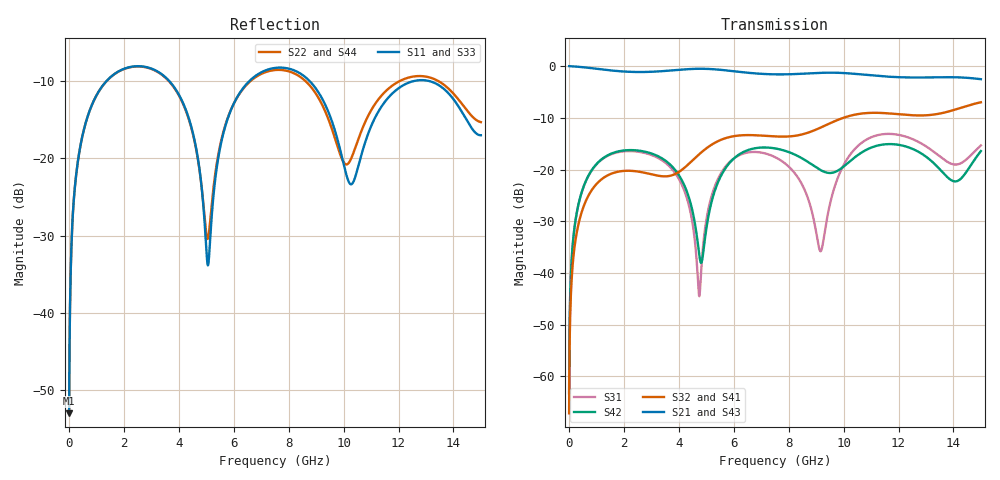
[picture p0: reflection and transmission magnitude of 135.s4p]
! Created with skrf 1.8.0 (http://scikit-rf.org).
# GHz S RI R 50.0
!freq ReS11 ImS11 ReS12 ImS12 ReS13 ImS13
! ReS14 ImS14
! ReS21 ImS21 ReS22 ImS22 ReS23 ImS23
! ReS24 ImS24
! ReS31 ImS31 ReS32 ImS32 ReS33 ImS33
! ReS34 ImS34
! ReS41 ImS41 ReS42 ImS42 ReS43 ImS43
! ReS44 ImS44
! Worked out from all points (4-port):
!   2499 points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, 5 MHz to 15 GHz, reference 50 ohm
!   strongest paths, dB at 5 MHz, 3.476 GHz, 7.19 GHz, 11.1 GHz, 15 GHz:
!     S21: 0.0, -0.9, -1.5, -1.8, -2.5
!     S43: 0.0, -0.9, -1.5, -1.8, -2.5
!     S32: -67.1, -21.3, -13.5, -9.0, -7.0
!     S41: -67.1, -21.4, -13.5, -9.0, -7.0
!     S42: -63.3, -18.1, -15.7, -15.6, -16.4
!     S31: -63.3, -18.5, -17.0, -13.6, -15.3
!   lowest |S11| = -53.0 dB at 5 MHz (marker M1), VSWR 1.00, Z = 50.2 + j0.136 ohm
!   |S11| at or under -10 dB: 3.656 GHz to 6.565 GHz (2.909 GHz wide, 56.9 % of centre); 8.767 GHz to 12.54 GHz (3.769 GHz wide, 35.4 % of centre); 13.13 GHz to end of sweep (the widest 3 of 4)
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0.005  0.00177 0.00135  0.9982 -0.00345  8.87e-05 0.000681  -8.63e-05 -0.000431
       0.9982 -0.00345  0.00177 0.00135  -8.63e-05 -0.000431  8.88e-05 0.000681
       8.87e-05 0.000681  -8.63e-05 -0.000431  0.00177 0.00135  0.9982 -0.00345
       -8.63e-05 -0.000431  8.88e-05 0.000681  0.9982 -0.00345  0.00177 0.00135
0.3126303  0.0275 0.0883  0.9625 -0.2141  0.0121 0.0401  -0.0103 -0.0249
           0.9625 -0.2141  0.0274 0.0883  -0.0103 -0.0249  0.0126 0.04
           0.0121 0.0401  -0.0103 -0.0249  0.0275 0.0883  0.9625 -0.2141
           -0.0103 -0.0249  0.0126 0.04  0.9625 -0.2141  0.0274 0.0883
1.469362  0.2799 0.1759  0.532 -0.7397  0.1242 0.0603  -0.0893 -0.0036
          0.532 -0.7397  0.2782 0.1771  -0.0894 -0.00347  0.1292 0.0533
          0.1242 0.0603  -0.0894 -0.00347  0.2799 0.1759  0.5319 -0.7397
          -0.0893 -0.0036  0.1292 0.0533  0.5319 -0.7397  0.2783 0.1771
4.745727  0.0354 -0.0794  -0.9072 -0.2536  0.00594 0.000442  -0.0344 0.1365
          -0.9072 -0.2536  0.0442 -0.0737  -0.0325 0.137  -0.013 -0.00735
          0.00594 0.000442  -0.0325 0.137  0.0368 -0.0793  -0.9072 -0.2535
          -0.0344 0.1365  -0.013 -0.00735  -0.9072 -0.2535  0.0428 -0.0743
7.678199  0.3872 -0.0027  -0.0634 0.8289  0.1126 -0.0524  0.2043 -0.0342
          -0.0634 0.8289  0.3742 0.00405  0.2043 -0.0384  0.1155 -0.1057
          0.1126 -0.0524  0.2043 -0.0384  0.3874 -0.00363  -0.0629 0.8287
          0.2043 -0.0342  0.1155 -0.1057  -0.0629 0.8287  0.3752 0.00432
10.49812  0.0778 0.0316  0.8344 -0.0667  0.0853 0.1433  -0.0413 -0.3405
          0.8344 -0.0667  0.1124 0.0598  -0.0497 -0.339  0.00414 0.1367
          0.0853 0.1433  -0.0497 -0.339  0.081 0.0302  0.8342 -0.068
          -0.0413 -0.3405  0.00414 0.1367  0.8342 -0.068  0.1089 0.0622
15  0.1412 -0.00516  -0.7002 -0.2605  -0.1006 0.1382  -0.1662 0.4154
    -0.7002 -0.2605  0.1675 -0.0375  -0.151 0.4205  -0.0443 0.1441
    -0.1006 0.1382  -0.151 0.4205  0.1463 -0.0133  -0.7002 -0.2591
    -0.1662 0.4154  -0.0443 0.1441  -0.7002 -0.2591  0.1674 -0.0394
